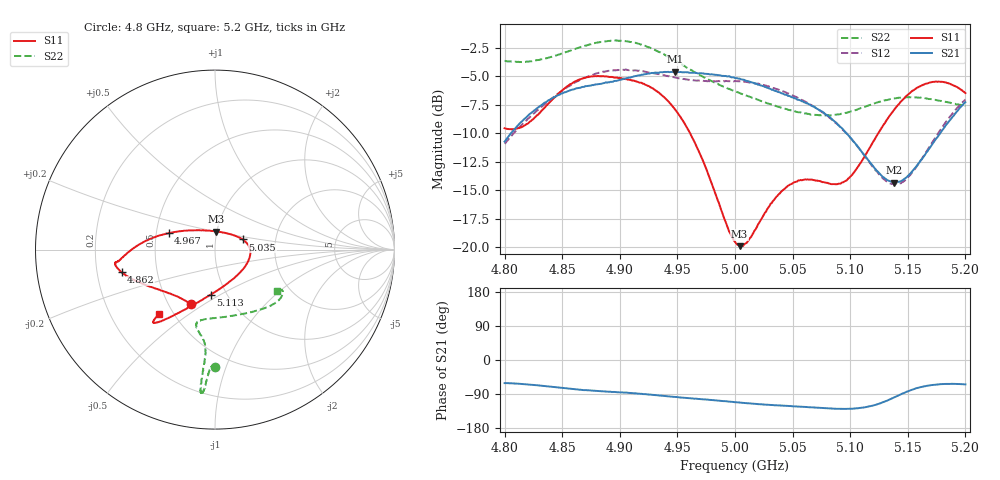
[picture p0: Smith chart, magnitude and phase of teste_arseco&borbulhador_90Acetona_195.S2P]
! Network Analyzer HP8722D
! Hewlett-Packard
! Data name: Linha & Wilkinson
! Saver's name: Rodrigo Anjos
! Comments: Teste da utilização de aquisição
! continua pelo VNA HP8722D
! Time and date: 17/4/2025 12:40
!  Frequency  S11  S21  S12  S22
# HZ  S  MA R 50
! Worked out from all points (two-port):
!   401 points, 4.8 GHz to 5.2 GHz, reference 50 ohm
!   highest |S21| = -4.62 dB at 4.948 GHz (marker M1); lowest = -14.3 dB at 5.138 GHz (marker M2)
!   |S21| within 3 dB of the highest: 4.831 GHz to 5.067 GHz (235.9 MHz wide, 4.77 % of centre); 5.196848 GHz to end of sweep
!   lowest |S11| = -19.9 dB at 5.004 GHz (marker M3), VSWR 1.22, Z = 49.7 + j10.1 ohm
!   |S11| at or under -10 dB: 4.961 GHz to 5.124 GHz (163.4 MHz wide, 3.24 % of centre)
!   |S22| runs from -8.4 to -1.9 dB; largest |S21 - S12| = 0.88
!   S11 on the Smith chart (normalised r, x): 4.8 GHz: 0.64, -0.44; 4.862 GHz: 0.31, -0.11; 4.967 GHz: 0.58, +0.12; 5.035 GHz: 1.35, +0.16; 5.113 GHz: 0.84, -0.45; 5.2 GHz: 0.42, -0.39
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4.8e9  0.3324 -113.8  0.2904 -61.0  0.2842 -175.2  0.6563 -89.8
4.819e9  0.3464 -133.9  0.3714 -64.1  0.3598 -173.8  0.6514 -91.5
4.862e9  0.5357 -166.4  0.4969 -77.2  0.5305 -176.9  0.7431 -93.8
4.867e9  0.5476 -168.3  0.5034 -78.8  0.5465 -178.0  0.7577 -94.0
4.899e9  0.5512 -172.9  0.5392 -85.3  0.5985 175.5  0.8032 -95.5
4.934e9  0.4759 -179.0  0.5821 -93.6  0.5742 171.9  0.7175 -95.9
4.948e9  0.4016 174.1  0.5877 -97.6  0.5544 172.0  0.6583 -95.5
4.967e9  0.2745 160.5  0.5799 -102.2  0.537 173.9  0.5773 -95.2
5e9  0.1056 99.7  0.5514 -111.4  0.536 176.1  0.4823 -99.5
5.004e9  0.1011 86.0  0.5487 -112.1  0.5334 176.0  0.4739 -100.3
5.012e9  0.1079 60.6  0.5332 -114.3  0.5275 175.7  0.4579 -102.2
5.035e9  0.1642 20.2  0.4843 -119.4  0.4956 174.6  0.417 -103.8
5.05e9  0.1906 4.9  0.4545 -122.0  0.4626 174.0  0.3982 -99.8
5.067e9  0.1978 -13.3  0.4157 -125.0  0.418 173.7  0.3821 -91.1
5.093e9  0.1924 -57.7  0.3316 -128.9  0.3289 173.8  0.3848 -70.8
5.113e9  0.2526 -95.5  0.2508 -124.7  0.25 179.9  0.4131 -55.2
5.134e9  0.3757 -116.9  0.1952 -104.4  0.191 -157.4  0.445 -43.1
5.138e9  0.3997 -119.3  0.192 -99.0  0.1889 -151.1  0.4485 -41.3
5.151e9  0.4704 -125.0  0.2076 -81.6  0.205 -130.9  0.4547 -36.5
5.17e9  0.5285 -129.4  0.2767 -66.4  0.2819 -112.6  0.4462 -32.1
5.184e9  0.5253 -130.7  0.3476 -63.2  0.3587 -107.2  0.433 -31.2
5.2e9  0.4739 -131.1  0.4323 -64.5  0.4443 -106.5  0.4162 -33.6
